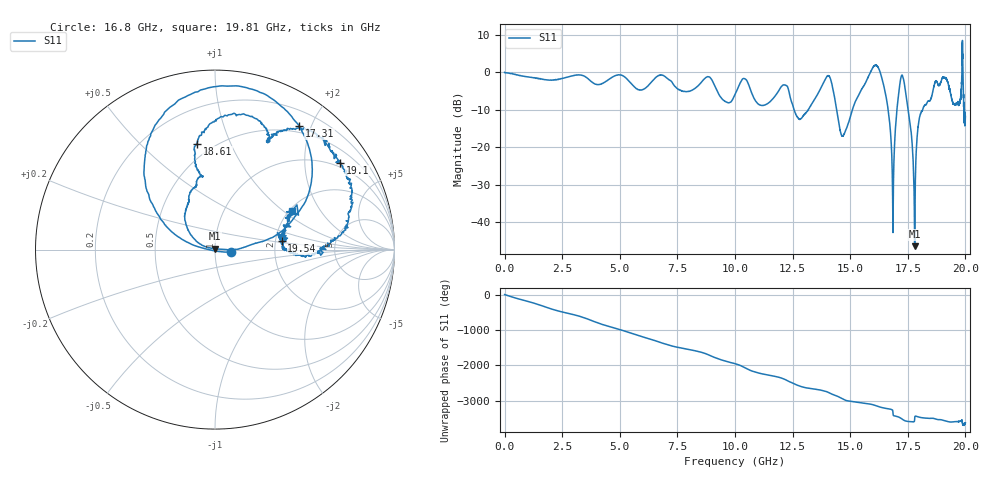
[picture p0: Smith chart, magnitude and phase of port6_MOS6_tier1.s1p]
! Created with skrf 1.8.0 (http://scikit-rf.org).
# GHz S RI R 50.0
!freq ReS11 ImS11
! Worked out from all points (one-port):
!   10000 points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, 3 MHz to 20 GHz, reference 50 ohm
!   lowest |S11| = -46.4 dB at 17.8 GHz (marker M1), VSWR 1.01, Z = 50 + j0.481 ohm
!   |S11| at or under -10 dB: 12.56 GHz to 13.18 GHz (613.4 MHz wide, 4.77 % of centre); 14.41 GHz to 15.1 GHz (685.4 MHz wide, 4.64 % of centre); 17.51 GHz to 18.14 GHz (631.1 MHz wide, 3.54 % of centre) (the widest 3 of 7)
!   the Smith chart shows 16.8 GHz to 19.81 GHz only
!   S11 on the Smith chart (normalised r, x): 16.8 GHz: 1.20, -0.03; 17.31 GHz: 0.40, +1.82; 18.61 GHz: 0.41, +0.76; 19.1 GHz: 0.86, +2.97; 19.54 GHz: 2.17, +0.24; 19.81 GHz: 2.07, +1.16
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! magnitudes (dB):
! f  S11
! 3 MHz  0.0
! 2.503 GHz  -1.6
! 5.003 GHz  -0.7
! 7.503 GHz  -4.3
! 8.839 GHz  -1.1
! 10 GHz  -5.9
! 10.42 GHz  -1.7
! 11.23 GHz  -8.8
! 12.17 GHz  -3.4
! 12.5 GHz  -8.7
! 12.88 GHz  -12.3
! 14.05 GHz  -0.9
! 14.63 GHz  -16.8
! 15 GHz  -12.0
! 16.17 GHz  1.7
! 16.59 GHz  -7.8
! 16.8 GHz  -20.8
! 16.89 GHz  -24.7
! 17.1 GHz  -5.7
! 17.31 GHz  -1.6
! 17.5 GHz  -9.5
! 17.8 GHz  -46.4
! 18.02 GHz  -11.6
! 18.61 GHz  -4.5
! 19.1 GHz  -1.4
! 19.54 GHz  -8.5
! 19.81 GHz  -6.4
! 20 GHz  -11.8
